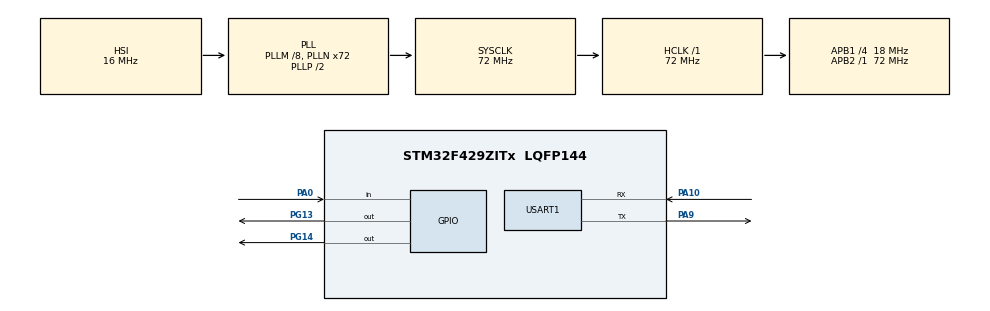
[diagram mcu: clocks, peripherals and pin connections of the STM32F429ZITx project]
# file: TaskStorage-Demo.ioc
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FREERTOS.Tasks01=defaultTask,24,128,StartDefaultTask,Default,NULL,Dynamic,NULL,NULL
Mcu.Family=STM32F4
Mcu.Name=STM32F429ZITx
Mcu.Package=LQFP144
NVIC.PriorityGroup=NVIC_PRIORITYGROUP_4
PA0/WKUP.GPIO_PuPd=GPIO_PULLDOWN
PA0/WKUP.Signal=GPIO_Input
PA10.Mode=Asynchronous
PA10.Signal=USART1_RX
PA9.Mode=Asynchronous
PA9.Signal=USART1_TX
PG13.Signal=GPIO_Output
PG14.Signal=GPIO_Output
ProjectManager.HeapSize=0x200
ProjectManager.StackSize=0x400
ProjectManager.TargetToolchain=STM32CubeIDE
RCC.48MHZClocksFreq_Value=48000000
RCC.AHBFreq_Value=72000000
RCC.APB1CLKDivider=RCC_HCLK_DIV4
RCC.APB1Freq_Value=18000000
RCC.APB1TimFreq_Value=36000000
RCC.APB2Freq_Value=72000000
RCC.APB2TimFreq_Value=72000000
RCC.CortexFreq_Value=72000000
RCC.HCLKFreq_Value=72000000
RCC.HSE_VALUE=8000000
RCC.HSI_VALUE=16000000
RCC.LSE_VALUE=32768
RCC.PLLM=8
RCC.PLLN=72
RCC.PLLQ=3
RCC.PLLSAIN=50
RCC.SYSCLKFreq_VALUE=72000000
RCC.SYSCLKSource=RCC_SYSCLKSOURCE_PLLCLK
RCC.VCOOutputFreq_Value=144000000
USART1.VirtualMode=VM_ASYNC
VP_FREERTOS_VS_CMSIS_V2.Mode=CMSIS_V2
board=STM32F429I-DISC1

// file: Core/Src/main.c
/* USER CODE BEGIN Header */
/**
  ******************************************************************************
  * @file           : main.c
  * @brief          : Main program body
  ******************************************************************************
  * @attention
  *
  * Copyright (c) 2025 STMicroelectronics.
  * All rights reserved.
  *
  * This software is licensed under terms that can be found in the LICENSE file
  * in the root directory of this software component.
  * If no LICENSE file comes with this software, it is provided AS-IS.
  *
  ******************************************************************************
  */
/* USER CODE END Header */
#include "main.h"

UART_HandleTypeDef huart1;

/* Definitions for defaultTask */

/* USER CODE BEGIN PV */
/* Task handles */
TaskHandle_t xTask1Handle = NULL;
TaskHandle_t xTask2Handle = NULL;

/* TLS index (can be shared across tasks if they use different data types or purposes) */
static BaseType_t xTLSIndex = 0;

/* Structure to hold task-specific data */
typedef struct {
    uint32_t ulTaskID;
    uint32_t ulCounter;
    char pcTaskName[20];
} TaskData_t;

/* USER CODE END PV */

void SystemClock_Config(void);
static void MX_GPIO_Init(void);
static void MX_USART1_UART_Init(void);
void StartDefaultTask(void *argument);

/* USER CODE BEGIN PFP */
static void TlsDemoTask(void *pvParameters);
/* USER CODE END PFP */

/* USER CODE BEGIN 0 */
int _write(int file, char *data, int len)
{
    HAL_UART_Transmit(&huart1, (uint8_t*)data, len, HAL_MAX_DELAY);
    return len;
}
/* USER CODE END 0 */

int main(void)
{

  /* MCU Configuration--------------------------------------------------------*/

  /* Reset of all peripherals, Initializes the Flash interface and the Systick. */
  HAL_Init();

  /* Configure the system clock */
  SystemClock_Config();

  /* Initialize all configured peripherals */
  MX_GPIO_Init();
  MX_USART1_UART_Init();

  /* Init scheduler */

  /* Create the thread(s) */
  /* creation of defaultTask */

  /* USER CODE BEGIN RTOS_THREADS */
  /* add threads, ... */
  printf("=== FreeRTOS Thread Local Storage Demonstration ===\r\n");
      printf("STM32F429I Discovery Board\r\n");
      printf("FreeRTOS Version: %s\r\n", tskKERNEL_VERSION_NUMBER);

      /* Create TLS index (only needs to be done once) */
      xTLSIndex = 0; /* Using index 0 for this demo */

      /* Create tasks that will use TLS */
      xTaskCreate(
          TlsDemoTask,            /* Task function */
          "TlsTask1",             /* Task name */
          configMINIMAL_STACK_SIZE, /* Stack size */
          (void*)1,               /* Parameter: Task ID 1 */
          tskIDLE_PRIORITY + 1,   /* Task priority */
          &xTask1Handle           /* Task handle */
      );

      xTaskCreate(
          TlsDemoTask,            /* Task function */
          "TlsTask2",             /* Task name */
          configMINIMAL_STACK_SIZE, /* Stack size */
          (void*)2,               /* Parameter: Task ID 2 */
          tskIDLE_PRIORITY + 1,   /* Task priority */
          &xTask2Handle           /* Task handle */
      );

      printf("All tasks created successfully. Starting scheduler...\r\n");

      /* Start the scheduler */
      vTaskStartScheduler();
  /* USER CODE END RTOS_THREADS */

  /* Start scheduler */

  /* We should never get here as control is now taken by the scheduler */

  /* Infinite loop */
  while (1)
  {

  }
}

void SystemClock_Config(void)
{
  RCC_OscInitTypeDef RCC_OscInitStruct = {0};
  RCC_ClkInitTypeDef RCC_ClkInitStruct = {0};

  /** Configure the main internal regulator output voltage
  */
  __HAL_RCC_PWR_CLK_ENABLE();
  __HAL_PWR_VOLTAGESCALING_CONFIG(PWR_REGULATOR_VOLTAGE_SCALE3);

  /** Initializes the RCC Oscillators according to the specified parameters
  * in the RCC_OscInitTypeDef structure.
  */
  RCC_OscInitStruct.OscillatorType = RCC_OSCILLATORTYPE_HSI;
  RCC_OscInitStruct.HSIState = RCC_HSI_ON;
  RCC_OscInitStruct.HSICalibrationValue = RCC_HSICALIBRATION_DEFAULT;
  RCC_OscInitStruct.PLL.PLLState = RCC_PLL_ON;
  RCC_OscInitStruct.PLL.PLLSource = RCC_PLLSOURCE_HSI;
  RCC_OscInitStruct.PLL.PLLM = 8;
  RCC_OscInitStruct.PLL.PLLN = 72;
  RCC_OscInitStruct.PLL.PLLP = RCC_PLLP_DIV2;
  RCC_OscInitStruct.PLL.PLLQ = 3;
  if (HAL_RCC_OscConfig(&RCC_OscInitStruct) != HAL_OK)
  {
    Error_Handler();
  }

  /** Initializes the CPU, AHB and APB buses clocks
  */
  RCC_ClkInitStruct.ClockType = RCC_CLOCKTYPE_HCLK|RCC_CLOCKTYPE_SYSCLK
                              |RCC_CLOCKTYPE_PCLK1|RCC_CLOCKTYPE_PCLK2;
  RCC_ClkInitStruct.SYSCLKSource = RCC_SYSCLKSOURCE_PLLCLK;
  RCC_ClkInitStruct.AHBCLKDivider = RCC_SYSCLK_DIV1;
  RCC_ClkInitStruct.APB1CLKDivider = RCC_HCLK_DIV4;
  RCC_ClkInitStruct.APB2CLKDivider = RCC_HCLK_DIV1;

  if (HAL_RCC_ClockConfig(&RCC_ClkInitStruct, FLASH_LATENCY_2) != HAL_OK)
  {
    Error_Handler();
  }
}

static void MX_USART1_UART_Init(void)
{

  huart1.Instance = USART1;
  huart1.Init.BaudRate = 115200;
  huart1.Init.WordLength = UART_WORDLENGTH_8B;
  huart1.Init.StopBits = UART_STOPBITS_1;
  huart1.Init.Parity = UART_PARITY_NONE;
  huart1.Init.Mode = UART_MODE_TX_RX;
  huart1.Init.HwFlowCtl = UART_HWCONTROL_NONE;
  huart1.Init.OverSampling = UART_OVERSAMPLING_16;
  if (HAL_UART_Init(&huart1) != HAL_OK)
  {
    Error_Handler();
  }

}

static void MX_GPIO_Init(void)
{
  GPIO_InitTypeDef GPIO_InitStruct = {0};

  /* GPIO Ports Clock Enable */
  __HAL_RCC_GPIOA_CLK_ENABLE();
  __HAL_RCC_GPIOG_CLK_ENABLE();

  /*Configure GPIO pin Output Level */
  HAL_GPIO_WritePin(GPIOG, GPIO_PIN_13|GPIO_PIN_14, GPIO_PIN_RESET);

  /*Configure GPIO pin : PA0 */
  GPIO_InitStruct.Pin = GPIO_PIN_0;
  GPIO_InitStruct.Mode = GPIO_MODE_INPUT;
  GPIO_InitStruct.Pull = GPIO_PULLDOWN;
  HAL_GPIO_Init(GPIOA, &GPIO_InitStruct);

  /*Configure GPIO pins : PG13 PG14 */
  GPIO_InitStruct.Pin = GPIO_PIN_13|GPIO_PIN_14;
  GPIO_InitStruct.Mode = GPIO_MODE_OUTPUT_PP;
  GPIO_InitStruct.Pull = GPIO_NOPULL;
  GPIO_InitStruct.Speed = GPIO_SPEED_FREQ_LOW;
  HAL_GPIO_Init(GPIOG, &GPIO_InitStruct);

}

/* USER CODE BEGIN 4 */
/**
 * @brief TLS Demo Task - Uses Thread Local Storage to store and retrieve task-specific data
 * @param pvParameters: Task parameters (Task ID)
 */
static void TlsDemoTask(void *pvParameters)
{
    TaskData_t *pxTaskData;
    uint32_t ulTaskID = (uint32_t)pvParameters;

    /* Allocate memory for task-specific data */
    pxTaskData = (TaskData_t *)pvPortMalloc(sizeof(TaskData_t));
    if (pxTaskData == NULL) {
        printf("Task %lu: Failed to allocate memory for TLS data!\r\n", ulTaskID);
        vTaskDelete(NULL); /* Delete this task if memory allocation fails */
    }

    /* Initialize task-specific data */
    pxTaskData->ulTaskID = ulTaskID;
    pxTaskData->ulCounter = 0;
    sprintf(pxTaskData->pcTaskName, "Task%lu", ulTaskID);

    /* Store the pointer to task-specific data in TLS */
    vTaskSetThreadLocalStoragePointer(NULL, xTLSIndex, pxTaskData);

    printf("%s: Started. Initializing TLS with ID %lu.\r\n", pxTaskData->pcTaskName, pxTaskData->ulTaskID);

    for (;;) {
        /* Retrieve task-specific data from TLS */
        pxTaskData = (TaskData_t *)pvTaskGetThreadLocalStoragePointer(NULL, xTLSIndex);

        pxTaskData->ulCounter++;

        printf("%s: Counter = %lu, TLS ID = %lu\r\n",
               pxTaskData->pcTaskName, pxTaskData->ulCounter, pxTaskData->ulTaskID);

        /* Toggle LED based on task ID */
        if (pxTaskData->ulTaskID == 1) {
        	HAL_GPIO_TogglePin(GPIOG, GPIO_PIN_13);
        } else {
        	HAL_GPIO_TogglePin(GPIOG, GPIO_PIN_14);
        }

        vTaskDelay(pdMS_TO_TICKS(500));
    }
}

/* USER CODE END 4 */

void StartDefaultTask(void *argument)
{
  /* USER CODE BEGIN 5 */
  /* Infinite loop */
  for(;;)
  {
	  vTaskDelay(pdMS_TO_TICKS(1));
  }
  /* USER CODE END 5 */
}

void Error_Handler(void)
{
  __disable_irq();
  while (1)
  {
  }
}
